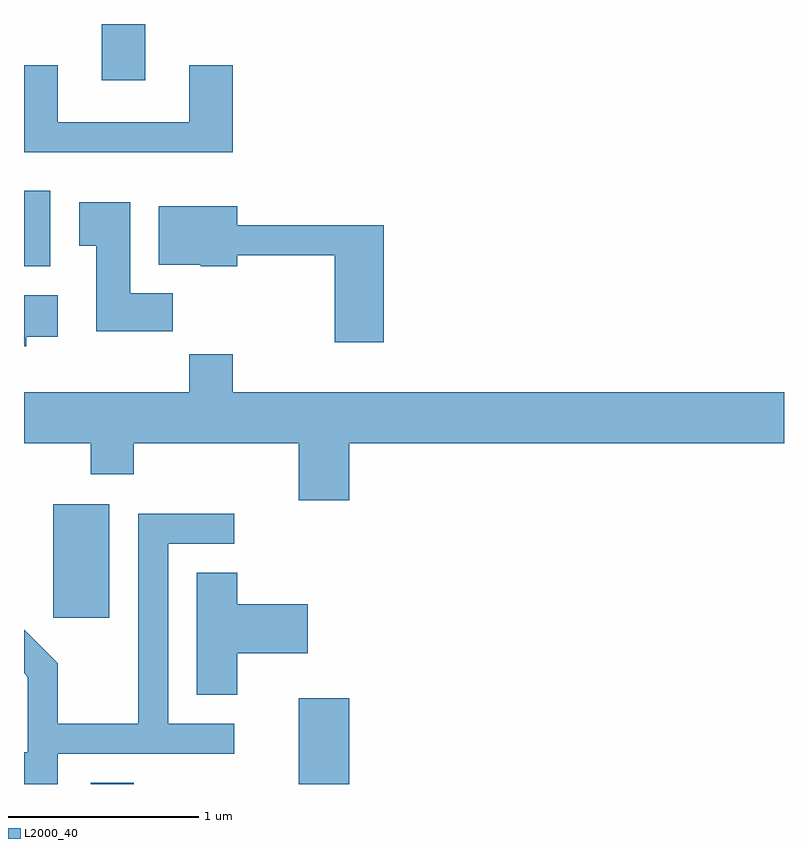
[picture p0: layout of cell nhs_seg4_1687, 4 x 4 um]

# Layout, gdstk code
import gdstk
lib = gdstk.Library(unit=1e-6, precision=1e-09)
def R(c, l, rs):  # rectangles x0, y0, x1, y1
    for r in rs: c.add(gdstk.rectangle(r[:2], r[2:], *l))
def P(c, l, *ps):  # polygons
    for p in ps: c.add(gdstk.Polygon(p, *l))
L2000_40 = (2000, 40)

nhs_seg4_1687 = lib.new_cell('nhs_seg4_1687')
R(nhs_seg4_1687, L2000_40, [(233.961,1363.982,234.189,1363.989), (235.056,1363.982,235.324,1364.434), (233.766,1364.856,234.059,1365.454), (233.611,1366.706,233.749,1367.104), (234.021,1367.686,234.249,1367.982)])
P(nhs_seg4_1687, L2000_40, [(234.709,1367.764),(234.481,1367.764),(234.481,1367.464),(233.789,1367.464),(233.789,1367.764),(233.611,1367.764),(233.611,1367.306),(234.709,1367.306)],
  [(234.394,1366.564),(234.169,1366.564),(234.169,1367.044),(233.901,1367.044),(233.901,1366.816),(233.991,1366.816),(233.991,1366.366),(234.394,1366.366)],
  [(235.504,1366.924),(234.734,1366.924),(234.734,1367.024),(234.321,1367.024),(234.321,1366.716),(234.54,1366.716),(234.54,1366.706),(234.734,1366.706),(234.734,1366.766),(235.246,1366.766),(235.246,1366.306),(235.504,1366.306)],
  [(233.624,1366.336),(233.789,1366.336),(233.789,1366.554),(233.611,1366.554),(233.611,1366.286),(233.624,1366.286)],
  [(235.324,1365.776),(237.611,1365.776),(237.611,1366.044),(234.709,1366.044),(234.709,1366.244),(234.481,1366.244),(234.481,1366.044),(233.611,1366.044),(233.611,1365.776),(233.961,1365.776),(233.961,1365.611),(234.189,1365.611),(234.189,1365.776),(235.056,1365.776),(235.056,1365.476),(235.324,1365.476)],
  [(233.789,1364.141),(234.718,1364.141),(234.718,1364.299),(234.369,1364.299),(234.369,1365.246),(234.718,1365.246),(234.718,1365.404),(234.211,1365.404),(234.211,1364.299),(233.789,1364.299),(233.789,1364.617),(233.611,1364.795),(233.611,1364.564),(233.631,1364.544),(233.631,1364.149),(233.611,1364.149),(233.611,1363.982),(233.789,1363.982)],
  [(234.734,1364.671),(235.104,1364.671),(235.104,1364.929),(234.734,1364.929),(234.734,1365.094),(234.521,1365.094),(234.521,1364.451),(234.734,1364.451)])

lib.write_gds('nhs_seg4_1687.gds')
